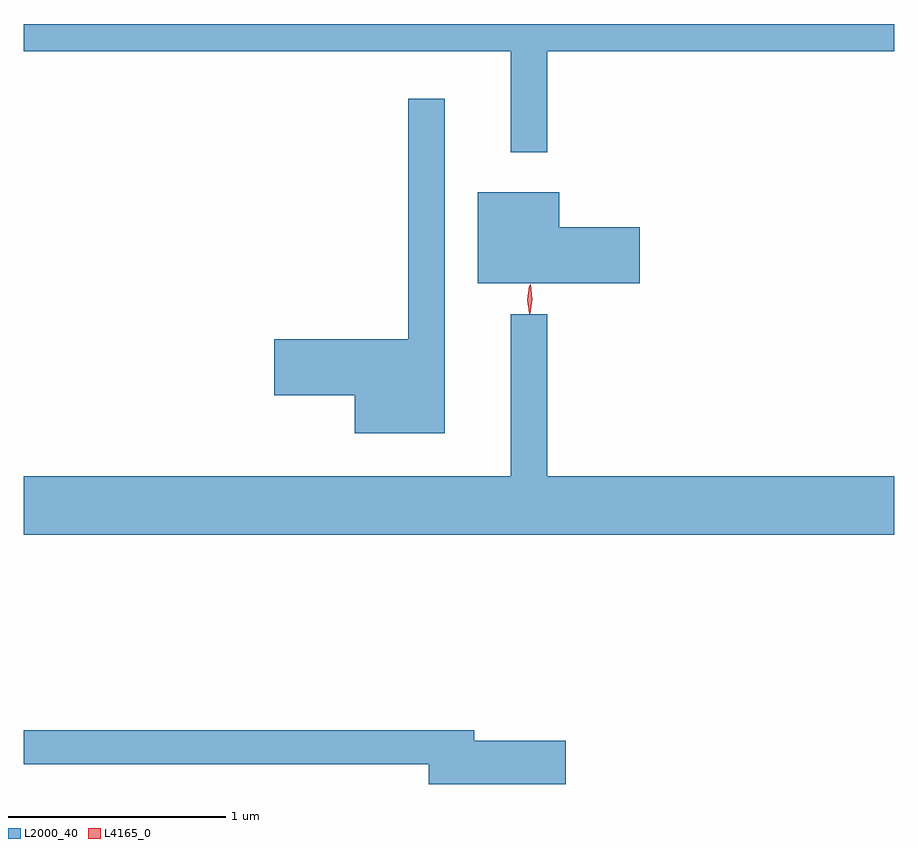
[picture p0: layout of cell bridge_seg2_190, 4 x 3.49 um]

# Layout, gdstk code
import gdstk
lib = gdstk.Library(unit=1e-6, precision=1e-09)
def P(c, l, *ps):  # polygons
    for p in ps: c.add(gdstk.Polygon(p, *l))
L2000_40 = (2000, 40)
L4165_0 = (4165, 0)

bridge_seg2_190 = lib.new_cell('bridge_seg2_190')
P(bridge_seg2_190, L2000_40, [(817.429,1046.096),(819.024,1046.096),(819.024,1046.222),(815.024,1046.222),(815.024,1046.096),(817.261,1046.096),(817.261,1045.632),(817.429,1045.632)],
  [(816.959,1045.878),(816.791,1045.878),(816.791,1044.774),(816.176,1044.774),(816.176,1044.516),(816.546,1044.516),(816.546,1044.341),(816.959,1044.341)],
  [(817.854,1045.289),(817.484,1045.289),(817.484,1045.449),(817.111,1045.449),(817.111,1045.031),(817.854,1045.031)],
  [(819.024,1044.144),(817.429,1044.144),(817.429,1044.888),(817.261,1044.888),(817.261,1044.144),(815.024,1044.144),(815.024,1043.876),(819.024,1043.876)],
  [(817.514,1042.929),(817.094,1042.929),(817.094,1042.979),(815.024,1042.979),(815.024,1042.821),(816.886,1042.821),(816.886,1042.731),(817.514,1042.731)])
P(bridge_seg2_190, L4165_0, [(817.35,1044.89),(817.35,1044.89),(817.341,1044.958),(817.352,1045.025),(817.352,1045.026),(817.353,1045.025),(817.361,1044.958),(817.351,1044.89)],
  [(817.348,1044.893),(817.347,1044.894),(817.338,1044.956),(817.347,1045.02),(817.348,1045.02),(817.348,1045.02),(817.358,1044.956),(817.348,1044.894)])

lib.write_gds('bridge_seg2_190.gds')
